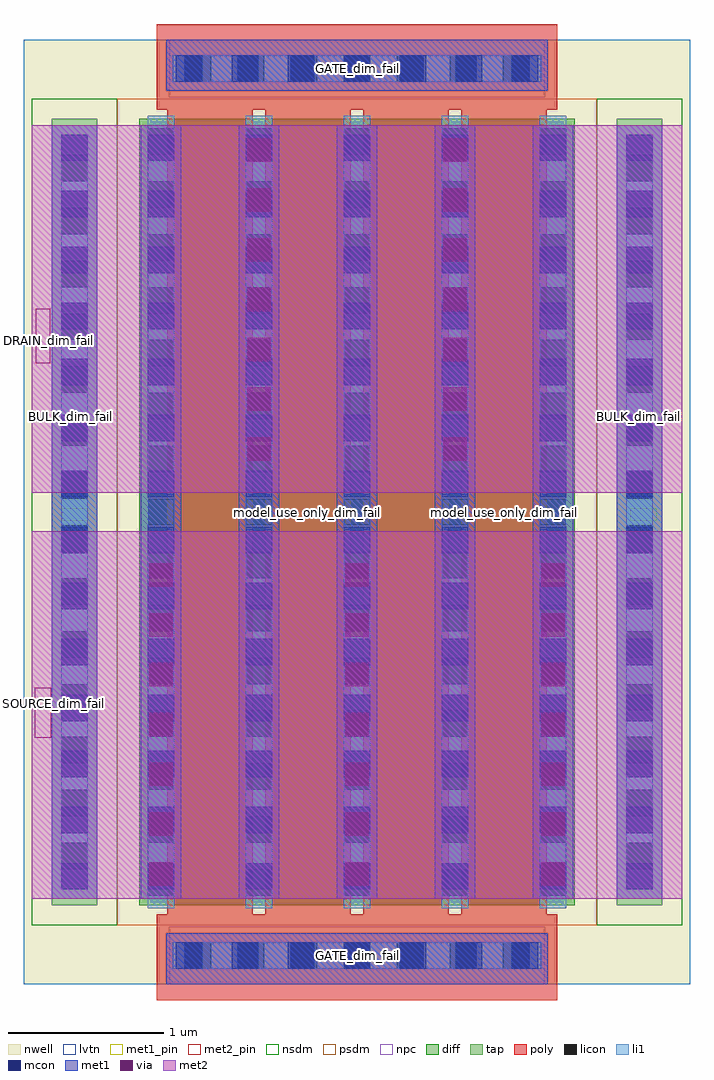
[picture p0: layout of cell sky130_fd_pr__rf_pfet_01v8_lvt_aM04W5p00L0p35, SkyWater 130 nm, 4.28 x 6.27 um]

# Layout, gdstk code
import gdstk
lib = gdstk.Library(unit=1e-6, precision=1e-09)
def R(c, l, rs):  # rectangles x0, y0, x1, y1
    for r in rs: c.add(gdstk.rectangle(r[:2], r[2:], *l))
def A(c, l, x, y, w, h, nx, ny, dx, dy):  # array of equal rectangles
    R(c, l, [(x+i*dx, y+j*dy, x+i*dx+w, y+j*dy+h) for i in range(nx) for j in range(ny)])
def P(c, l, *ps):  # polygons
    for p in ps: c.add(gdstk.Polygon(p, *l))
nwell = (64, 20)
diff = (65, 20)
tap = (65, 44)
poly = (66, 20)
licon = (66, 44)
li1 = (67, 20)
mcon = (67, 44)
met1_pin = (68, 16)
met1 = (68, 20)
via = (68, 44)
met2_pin = (69, 16)
met2 = (69, 20)
nsdm = (93, 44)
psdm = (94, 20)
npc = (95, 20)
lvtn = (125, 44)

sky130_fd_pr__rf_pfet_01 = lib.new_cell('sky130_fd_pr__rf_pfet_01v8_lvt_aM04W5p00L0p35')
R(sky130_fd_pr__rf_pfet_01, nwell, [(0,0,4.28,6.07)])
R(sky130_fd_pr__rf_pfet_01, diff, [(0.74,0.51,3.54,5.56)])
R(sky130_fd_pr__rf_pfet_01, tap, [(0.18,0.51,0.47,5.56), (3.81,0.51,4.1,5.56)])
P(sky130_fd_pr__rf_pfet_01, poly, [(0.855,-0.1),(0.855,0.45),(0.92,0.45),(0.92,5.62),(1.47,5.62),(1.47,0.45),(1.55,0.45),(1.55,5.62),(2.1,5.62),(2.1,0.45),(2.18,0.45),(2.18,5.62),(2.73,5.62),(2.73,0.45),(2.81,0.45),(2.81,5.62),(0.855,5.62),(0.855,6.17),(3.425,6.17),(3.425,5.62),(3.36,5.62),(3.36,0.45),(3.425,0.45),(3.425,-0.1)])
A(sky130_fd_pr__rf_pfet_01, licon, 1.035, 0.1, 0.17, 0.17, 7, 2, 0.34, 5.7)
A(sky130_fd_pr__rf_pfet_01, licon, 0.795, 0.57, 0.17, 0.17, 5, 15, 0.63, 0.34)
A(sky130_fd_pr__rf_pfet_01, licon, 0.24, 0.74, 0.17, 0.17, 1, 14, 0, 0.34)
A(sky130_fd_pr__rf_pfet_01, licon, 3.87, 0.74, 0.17, 0.17, 1, 14, 0, 0.34)
A(sky130_fd_pr__rf_pfet_01, li1, 0.795, 0.49, 0.17, 5.09, 5, 1, 0.63, 0)
A(sky130_fd_pr__rf_pfet_01, li1, 0.795, 1.69, 0.17, 2.69, 5, 1, 0.63, 0)
R(sky130_fd_pr__rf_pfet_01, li1, [(0.955,0.1,3.325,0.27), (0.24,0.61,0.41,5.46), (3.87,0.61,4.04,5.46), (0.24,0.66,0.41,5.41), (3.87,0.66,4.04,5.41), (0.24,1.68,0.41,4.39), (3.87,1.68,4.04,4.39), (0.955,5.8,3.325,5.97)])
A(sky130_fd_pr__rf_pfet_01, mcon, 0.975, 0.1, 0.17, 0.17, 7, 2, 0.36, 5.7)
A(sky130_fd_pr__rf_pfet_01, mcon, 0.24, 0.61, 0.17, 0.17, 1, 14, 0, 0.36)
A(sky130_fd_pr__rf_pfet_01, mcon, 0.795, 0.61, 0.17, 0.17, 5, 14, 0.63, 0.36)
A(sky130_fd_pr__rf_pfet_01, mcon, 3.87, 0.61, 0.17, 0.17, 1, 14, 0, 0.36)
R(sky130_fd_pr__rf_pfet_01, met1_pin, [(0.915,0,3.365,0.33), (0.245,2.98,0.415,3.06), (3.895,2.98,4.065,3.06), (0.915,5.74,3.365,6.07)])
A(sky130_fd_pr__rf_pfet_01, met1, 0.75, 0.55, 0.26, 2.24, 3, 1, 1.26, 0)
A(sky130_fd_pr__rf_pfet_01, met1, 0.75, 0.55, 0.26, 4.97, 5, 1, 0.63, 0)
R(sky130_fd_pr__rf_pfet_01, met1, [(0.915,0,3.365,0.33), (0.18,0.55,0.47,5.52), (3.81,0.55,4.1,5.52), (1.38,3.28,1.64,5.52), (2.64,3.28,2.9,5.52), (0.915,5.74,3.365,6.07)])
A(sky130_fd_pr__rf_pfet_01, via, 0.805, 0.635, 0.15, 0.15, 3, 7, 1.26, 0.32)
A(sky130_fd_pr__rf_pfet_01, via, 1.435, 3.365, 0.15, 0.15, 1, 7, 0, 0.32)
A(sky130_fd_pr__rf_pfet_01, via, 2.695, 3.365, 0.15, 0.15, 1, 7, 0, 0.32)
R(sky130_fd_pr__rf_pfet_01, met2_pin, [(0.07,1.585,0.175,1.905), (0.075,3.99,0.17,4.34)])
A(sky130_fd_pr__rf_pfet_01, met2, 0.75, 0.55, 0.26, 2.24, 3, 1, 1.26, 0)
R(sky130_fd_pr__rf_pfet_01, met2, [(0.05,0.55,4.23,2.91), (0.05,3.16,4.23,5.52), (1.38,3.28,1.64,5.52), (2.64,3.28,2.9,5.52)])
R(sky130_fd_pr__rf_pfet_01, nsdm, [(0.05,0.38,0.6,5.69), (3.68,0.38,4.23,5.69)])
R(sky130_fd_pr__rf_pfet_01, psdm, [(0.6,0.38,3.68,5.69)])
R(sky130_fd_pr__rf_pfet_01, npc, [(0.935,0,3.345,0.37), (0.935,5.7,3.345,6.07)])
R(sky130_fd_pr__rf_pfet_01, lvtn, [(0,0,4.28,6.07)])
sky130_fd_pr__rf_pfet_01.add(gdstk.Label('model_use_only_dim_fail', (1.825,3.03), layer=66, texttype=83))
sky130_fd_pr__rf_pfet_01.add(gdstk.Label('model_use_only_dim_fail', (1.195,3.03), layer=66, texttype=83))
sky130_fd_pr__rf_pfet_01.add(gdstk.Label('model_use_only_dim_fail', (3.085,3.03), layer=66, texttype=83))
sky130_fd_pr__rf_pfet_01.add(gdstk.Label('model_use_only_dim_fail', (2.455,3.03), layer=66, texttype=83))
sky130_fd_pr__rf_pfet_01.add(gdstk.Label('DRAIN_dim_fail', (0.155,4.135), layer=69, texttype=5))
sky130_fd_pr__rf_pfet_01.add(gdstk.Label('SOURCE_dim_fail', (0.175,1.805), layer=69, texttype=5))
sky130_fd_pr__rf_pfet_01.add(gdstk.Label('BULK_dim_fail', (0.3,3.65), layer=68, texttype=5))
sky130_fd_pr__rf_pfet_01.add(gdstk.Label('BULK_dim_fail', (3.95,3.65), layer=68, texttype=5))
sky130_fd_pr__rf_pfet_01.add(gdstk.Label('GATE_dim_fail', (2.14,5.885), layer=68, texttype=5))
sky130_fd_pr__rf_pfet_01.add(gdstk.Label('GATE_dim_fail', (2.14,0.185), layer=68, texttype=5))

lib.write_gds('sky130_fd_pr__rf_pfet_01v8_lvt_aM04W5p00L0p35.gds')
